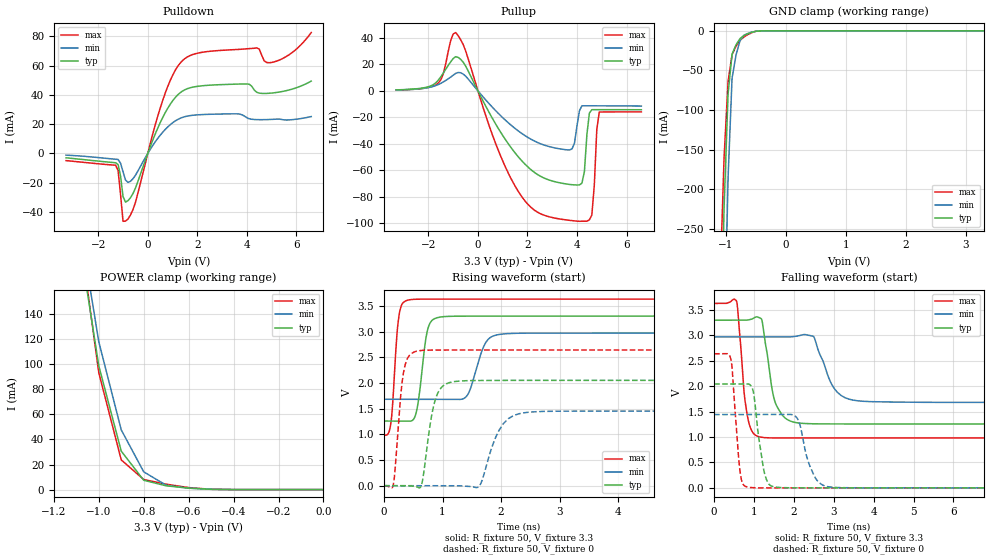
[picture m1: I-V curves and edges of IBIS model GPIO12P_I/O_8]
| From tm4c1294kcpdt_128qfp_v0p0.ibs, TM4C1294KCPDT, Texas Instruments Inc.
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|   Model Cell GPIO12P_I/O_8
[Model]   GPIO12P_I/O_8
Model_type   I/O
Polarity   Non-Inverting
Enable   Active-Low
Vinl =  0.8
Vinh =  2
Cref =  15.0000pF
Rref =  100.0000M
Vref =  0V
Vmeas =  1.65
C_comp   6.029616p   5.226915p   6.778838p
[Model Spec]
Vinl   0.8   0.8   0.8
Vinh   2   2   2
[Temperature Range]   25   125   -40
[Voltage Range]   3.3   2.97   3.63
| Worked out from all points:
|   slope of the pulldown table from 0 to 0.495 V, typ, clamps not added: 23.8 ohm
|   slope of the pullup table from 0 to 0.495 V, typ, clamps not added: 27.8 ohm
|   GND clamp passes 1 mA (typ) near -0.53 V on its own axis
|   POWER clamp passes 1 mA (typ) near -0.58 V on its own axis
|   rising waveform, R_fixture 50, V_fixture 3.3: 20-80 % time 130ps typ, 213ps min, 90.2ps max; typ from 1.26 V to 3.3 V
|   rising waveform, R_fixture 50, V_fixture 0: 20-80 % time 170ps typ, 286ps min, 117ps max; typ from 0 V to 2.04 V
|   falling waveform, R_fixture 50, V_fixture 3.3: 20-80 % time 264ps typ, 420ps min, 181ps max; typ from 3.3 V to 1.26 V
|   falling waveform, R_fixture 50, V_fixture 0: 20-80 % time 203ps typ, 301ps min, 148ps max; typ from 2.04 V to 0 V
| Nom Voltages:
|   IBIASFET=3.3, VDDC=1.2, VDD=3.3, GND=0
| Min Voltages:
|   IBIASFET=2.97, VDDC=1.08, VDD=2.97, GND=0
| Max Voltages:
|   IBIASFET=3.63, VDDC=1.32, VDD=3.63, GND=0
[POWER_clamp]
|   voltage   I(typ)   I(min)   I(max)
-3.3V     3.668A     4.187A     4.057A
-1.067V   175.6mA    191.7mA    181.3mA
-1.033V   137.2mA    154.7mA    137.2mA
-1V       98.66mA    117.8mA    93.17mA
-900mV    30.66mA    47.6mA     23.68mA
-800mV    7.454mA    14.17mA    8.045mA
-700mV    3.021mA    3.466mA    4.326mA
-600mV    1.166mA    1.15mA     1.613mA
-500mV    219.7uA    295.1uA    245.5uA
0V        69.07pA    1.982nA    9.028pA
[Pulldown]
|   voltage   I(typ)   I(min)   I(max)
-3.3V     -3.019mA   -1.206mA   -4.938mA
-1.3V     -6.416mA   -4.007mA   -8.087mA
-1.2V     -7.65mA    -4.163mA   -11.69mA
-1V       -29.59mA   -12.56mA   -46.46mA
-900mV    -33.29mA   -18.21mA   -46.32mA
-500mV    -23.81mA   -14.98mA   -33.54mA
700mV     27.72mA    16.29mA    41.06mA
1.4V      42.61mA    24.62mA    63.44mA
4V        47.51mA    24.37mA    71.53mA
4.4V      41.79mA    23.1mA     72.14mA
5V        41.27mA    23.24mA    62.2mA
6.6V      49.45mA    25.19mA    82.65mA
[Pullup]
|   voltage   I(typ)   I(min)   I(max)
-3.3V     716.3uA    635uA      605.7uA
-1.6V     8.021mA    4.755mA    5.925mA
-900mV    25.8mA     13.18mA    44.03mA
1.7V      -51.4mA    -31.27mA   -78.06mA
3.7V      -70.75mA   -44.67mA   -97.88mA
4V        -71.18mA   -26.4mA    -98.48mA
4.3V      -61.06mA   -11.3mA    -98.51mA
4.5V      -16.84mA   -11.31mA   -97.48mA
4.6V      -14.26mA   -11.32mA   -93.92mA
4.8V      -14.25mA   -11.33mA   -29.37mA
4.9V      -14.25mA   -11.34mA   -16.02mA
6.6V      -14.3mA    -11.49mA   -15.93mA
[GND_clamp]
|   voltage   I(typ)   I(min)   I(max)
-3.3V     -18.01A    -17.27A    -18.6A
-1.1V     -459.9mA   -734.3mA   -318.7mA
-1.033V   -223.6mA   -411.6mA   -160.4mA
-966.7mV  -80.12mA   -186.8mA   -64.21mA
-900mV    -29.51mA   -59.8mA    -30.11mA
-833.3mV  -17.66mA   -30.4mA    -19.41mA
-766.7mV  -9.785mA   -12.28mA   -11.96mA
-700mV    -5.884mA   -5.445mA   -7.749mA
-500mV    -484.3uA   -573uA     -552.3uA
-366.7mV  -23.48uA   -48.41uA   -21.82uA
3.3V      69.07pA    6.412uA    7.794pA
[Ramp]
| variable   typ   min   max
dV/dt_f  1.2650696/0.26678168n 0.80180967/0.4261666n  1.6395763/0.18482632n
dV/dt_r  1.2553671/0.17228477n 0.89374271/0.29145616n  1.6086857/0.11867281n
R_load = 50
[Rising Waveform]
R_fixture = 50
V_fixture = 3.3
V_fixture_min = 2.97
V_fixture_max = 3.63
|   time   V(typ)   V(min)   V(max)
0s        1.258V     1.681V     982.6mV
122.7ps   1.258V     1.681V     1.256V
272.8ps   1.258V     1.681V     3.411V
473.4ps   1.263V     1.681V     3.623V
750.1ps   3.054V     1.681V     3.63V
1.03ns    3.29V      1.681V     3.63V
1.394ns   3.299V     1.72V      3.63V
1.734ns   3.299V     2.776V     3.63V
2.106ns   3.3V       2.958V     3.63V
20.05ns   3.3V       2.97V      3.63V
[Rising Waveform]
R_fixture = 50
V_fixture = 0
V_fixture_min = 0
V_fixture_max = 0
|   time   V(typ)   V(min)   V(max)
0s        0V         0V         0V
168.1ps   0V         0V         71.79mV
366.4ps   0V         0V         2.37V
608.6ps   -41.78mV   0V         2.627V
886.1ps   1.708V     0V         2.639V
1.28ns    2.035V     0V         2.64V
1.627ns   2.047V     -10.95mV   2.64V
2.037ns   2.049V     1.203V     2.64V
2.591ns   2.049V     1.439V     2.64V
20.01ns   2.045V     1.447V     2.639V
[Falling Waveform]
R_fixture = 50
V_fixture = 3.3
V_fixture_min = 2.97
V_fixture_max = 3.63
|   time   V(typ)   V(min)   V(max)
0s        3.3V       2.97V      3.63V
562.4ps   3.3V       2.97V      3.678V
845.2ps   3.304V     2.97V      1.378V
1.221ns   3.208V     2.97V      991.3mV
1.535ns   1.677V     2.97V      982.4mV
2.078ns   1.281V     2.986V     982.7mV
2.493ns   1.261V     2.979V     982.8mV
3.014ns   1.258V     1.955V     982.8mV
3.595ns   1.258V     1.714V     982.8mV
20.05ns   1.258V     1.681V     982.8mV
[Falling Waveform]
R_fixture = 50
V_fixture = 0
V_fixture_min = 0
V_fixture_max = 0
|   time   V(typ)   V(min)   V(max)
0s        2.045V     1.443V     2.639V
419.3ps   2.045V     1.443V     2.537V
658.4ps   2.045V     1.443V     283.8mV
873.1ps   2.041V     1.443V     10.98mV
1.269ns   275.4mV    1.443V     0V
1.556ns   13.48mV    1.443V     0V
2.09ns    0V         1.363V     0V
2.509ns   0V         239.9mV    0V
2.95ns    0V         13.31mV    0V
20.01ns   0V         0V         0V
